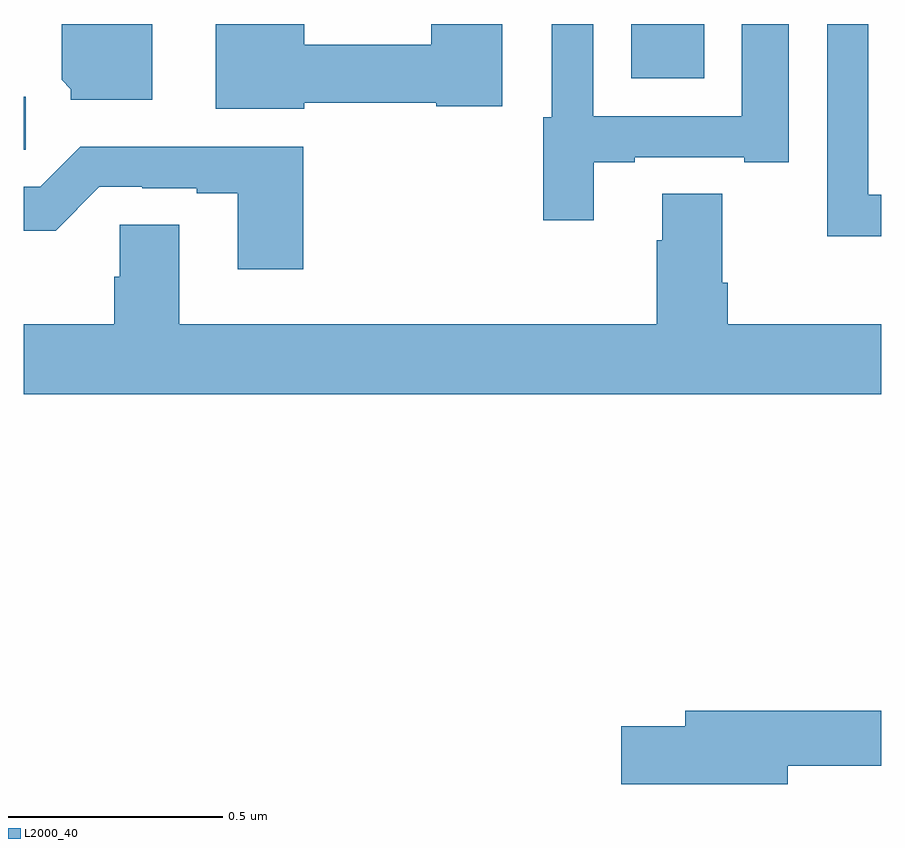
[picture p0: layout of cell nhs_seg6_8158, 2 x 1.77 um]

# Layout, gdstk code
import gdstk
lib = gdstk.Library(unit=1e-6, precision=1e-09)
def R(c, l, rs):  # rectangles x0, y0, x1, y1
    for r in rs: c.add(gdstk.rectangle(r[:2], r[2:], *l))
def P(c, l, *ps):  # polygons
    for p in ps: c.add(gdstk.Polygon(p, *l))
L2000_40 = (2000, 40)

nhs_seg6_8158 = lib.new_cell('nhs_seg6_8158')
R(nhs_seg6_8158, L2000_40, [(217,981.207,217.004,981.33), (218.417,981.374,218.587,981.5)])
P(nhs_seg6_8158, L2000_40, [(219,981.102),(218.97,981.102),(218.97,981.5),(218.874,981.5),(218.874,981.005),(219,981.005)],
  [(218.329,981.177),(218.425,981.177),(218.425,981.189),(218.681,981.189),(218.681,981.177),(218.785,981.177),(218.785,981.5),(218.675,981.5),(218.675,981.285),(218.328,981.285),(218.328,981.5),(218.232,981.5),(218.232,981.282),(218.212,981.282),(218.212,981.042),(218.329,981.042)],
  [(217.654,981.316),(217.962,981.316),(217.962,981.308),(218.116,981.308),(218.116,981.5),(217.951,981.5),(217.951,981.452),(217.654,981.452),(217.654,981.5),(217.448,981.5),(217.448,981.302),(217.654,981.302)],
  [(217.3,981.5),(217.088,981.5),(217.088,981.37),(217.11,981.348),(217.11,981.323),(217.3,981.323)],
  [(217.652,981.214),(217.132,981.214),(217.038,981.12),(217,981.12),(217,981.018),(217.074,981.018),(217.176,981.12),(217.276,981.12),(217.276,981.117),(217.403,981.117),(217.403,981.105),(217.499,981.105),(217.499,980.928),(217.652,980.928)],
  [(219,980.8),(218.642,980.8),(218.642,980.896),(218.629,980.896),(218.629,981.104),(218.489,981.104),(218.489,980.996),(218.477,980.996),(218.477,980.8),(217.363,980.8),(217.363,981.032),(217.224,981.032),(217.224,980.91),(217.211,980.91),(217.211,980.8),(217,980.8),(217,980.636),(219,980.636)],
  [(218.782,979.77),(219,979.77),(219,979.898),(218.543,979.898),(218.543,979.862),(218.394,979.862),(218.394,979.727),(218.782,979.727)])

lib.write_gds('nhs_seg6_8158.gds')
